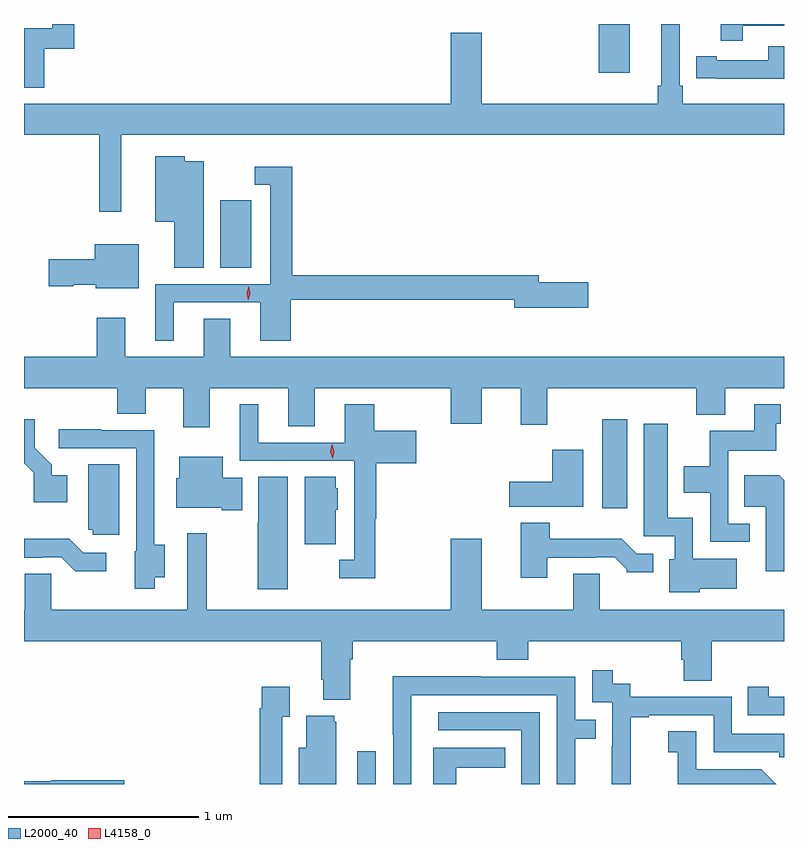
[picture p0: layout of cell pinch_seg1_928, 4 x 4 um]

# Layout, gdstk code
import gdstk
lib = gdstk.Library(unit=1e-6, precision=1e-09)
def R(c, l, rs):  # rectangles x0, y0, x1, y1
    for r in rs: c.add(gdstk.rectangle(r[:2], r[2:], *l))
def P(c, l, *ps):  # polygons
    for p in ps: c.add(gdstk.Polygon(p, *l))
L2000_40 = (2000, 40)
L4158_0 = (4158, 0)

pinch_seg1_928 = lib.new_cell('pinch_seg1_928')
R(pinch_seg1_928, L2000_40, [(212.469,577.62,212.565,577.792), (213.758,579.072,213.889,579.541), (211.748,580.336,211.912,580.693), (213.74,581.364,213.904,581.62)])
P(pinch_seg1_928, L2000_40, [(211.228,581.036),(214.715,581.036),(214.715,581.2),(214.181,581.2),(214.181,581.296),(214.167,581.296),(214.167,581.62),(214.07,581.62),(214.07,581.296),(214.051,581.296),(214.051,581.2),(213.124,581.2),(213.124,581.575),(212.96,581.575),(212.96,581.2),(210.715,581.2),(210.715,581.036),(211.111,581.036),(211.111,580.632),(211.228,580.632)],
  [(214.499,581.61),(214.715,581.61),(214.715,581.62),(214.382,581.62),(214.382,581.532),(214.499,581.532)],
  [(210.821,581.49),(210.98,581.49),(210.98,581.62),(210.864,581.62),(210.864,581.598),(210.715,581.598),(210.715,581.285),(210.821,581.285)],
  [(214.715,581.502),(214.632,581.502),(214.632,581.43),(214.36,581.43),(214.36,581.45),(214.252,581.45),(214.252,581.334),(214.36,581.334),(214.36,581.333),(214.715,581.333)],
  [(211.66,580.897),(211.56,580.897),(211.56,580.924),(211.406,580.924),(211.406,580.58),(211.505,580.58),(211.505,580.336),(211.66,580.336)],
  [(211.504,580.155),(211.958,580.155),(211.958,579.954),(212.12,579.954),(212.12,580.17),(213.296,580.17),(213.296,580.127),(213.685,580.127),(213.685,580.262),(213.424,580.262),(213.424,580.298),(212.126,580.298),(212.126,580.87),(211.929,580.87),(211.929,580.773),(212.01,580.773),(212.01,580.251),(211.406,580.251),(211.406,579.954),(211.504,579.954)],
  [(211.318,580.462),(211.088,580.462),(211.088,580.382),(210.846,580.382),(210.846,580.24),(210.975,580.24),(210.975,580.247),(211.092,580.247),(211.092,580.229),(211.318,580.229)],
  [(211.693,579.704),(212.105,579.704),(212.105,579.502),(212.245,579.502),(212.245,579.704),(212.96,579.704),(212.96,579.516),(213.124,579.516),(213.124,579.704),(213.329,579.704),(213.329,579.51),(213.469,579.51),(213.469,579.704),(214.253,579.704),(214.253,579.563),(214.405,579.563),(214.405,579.704),(214.715,579.704),(214.715,579.868),(211.801,579.868),(211.801,580.07),(211.661,580.07),(211.661,579.868),(211.249,579.868),(211.249,580.075),(211.097,580.075),(211.097,579.868),(210.715,579.868),(210.715,579.704),(211.205,579.704),(211.205,579.568),(211.357,579.568),(211.357,579.704),(211.553,579.704),(211.553,579.498),(211.693,579.498)],
  [(212.563,579.015),(212.57,579.015),(212.57,579.308),(212.779,579.308),(212.779,579.478),(212.559,579.478),(212.559,579.619),(212.402,579.619),(212.402,579.417),(211.948,579.417),(211.948,579.619),(211.85,579.619),(211.85,579.321),(212.454,579.321),(212.454,578.799),(212.373,578.799),(212.373,578.702),(212.563,578.702)],
  [(214.534,578.991),(214.422,578.991),(214.422,579.374),(214.675,579.374),(214.675,579.516),(214.699,579.516),(214.699,579.619),(214.559,579.619),(214.559,579.478),(214.324,579.478),(214.324,579.292),(214.187,579.292),(214.187,579.152),(214.326,579.152),(214.326,578.895),(214.534,578.895)],
  [(210.943,579.244),(210.862,579.244),(210.862,579.299),(210.772,579.389),(210.772,579.541),(210.715,579.541),(210.715,579.309),(210.765,579.259),(210.765,579.104),(210.943,579.104)],
  [(214.272,578.648),(214.465,578.648),(214.465,578.806),(214.236,578.806),(214.236,579.022),(214.102,579.022),(214.102,579.517),(213.977,579.517),(213.977,578.925),(214.14,578.925),(214.14,578.802),(214.112,578.802),(214.112,578.63),(214.272,578.63)],
  [(211.402,578.708),(211.456,578.708),(211.456,578.879),(211.401,578.879),(211.401,579.483),(211.121,579.483),(211.121,579.486),(210.897,579.486),(210.897,579.387),(211.305,579.387),(211.305,578.844),(211.298,578.844),(211.298,578.648),(211.402,578.648)],
  [(213.658,579.379),(213.494,579.379),(213.494,579.21),(213.27,579.21),(213.27,579.08),(213.658,579.08)],
  [(211.864,579.232),(211.762,579.232),(211.762,579.343),(211.532,579.343),(211.532,579.228),(211.517,579.228),(211.517,579.074),(211.757,579.074),(211.757,579.062),(211.864,579.062)],
  [(211.216,579.302),(211.052,579.302),(211.052,578.958),(211.077,578.958),(211.077,578.931),(211.216,578.931)],
  [(214.715,579.219),(214.69,579.244),(214.507,579.244),(214.507,579.08),(214.619,579.08),(214.619,578.739),(214.715,578.739)],
  [(212.104,579.236),(211.949,579.236),(211.949,578.994),(211.946,578.994),(211.946,578.646),(212.104,578.646)],
  [(212.356,579.063),(212.365,579.063),(212.365,579.177),(212.356,579.177),(212.356,579.236),(212.192,579.236),(212.192,578.883),(212.356,578.883)],
  [(213.469,578.811),(213.725,578.811),(213.725,578.814),(213.824,578.814),(213.888,578.75),(213.888,578.735),(214.027,578.735),(214.027,578.832),(213.939,578.832),(213.861,578.911),(213.482,578.911),(213.482,578.995),(213.329,578.995),(213.329,578.706),(213.469,578.706)],
  [(212.431,578.276),(212.444,578.276),(212.444,578.372),(213.203,578.372),(213.203,578.273),(213.368,578.273),(213.368,578.372),(214.175,578.372),(214.175,578.274),(214.187,578.274),(214.187,578.164),(214.335,578.164),(214.335,578.372),(214.715,578.372),(214.715,578.536),(213.745,578.536),(213.745,578.726),(213.605,578.726),(213.605,578.536),(213.124,578.536),(213.124,578.911),(212.96,578.911),(212.96,578.536),(211.676,578.536),(211.676,578.941),(211.575,578.941),(211.575,578.536),(210.858,578.536),(210.858,578.726),(210.719,578.726),(210.719,578.536),(210.715,578.536),(210.715,578.372),(212.279,578.372),(212.279,578.17),(212.291,578.17),(212.291,578.063),(212.431,578.063)],
  [(211.147,578.838),(211.026,578.838),(210.953,578.911),(210.715,578.911),(210.715,578.811),(210.812,578.811),(210.812,578.814),(210.912,578.814),(210.985,578.741),(211.147,578.741)],
  [(213.909,577.687),(213.908,577.687),(213.908,577.971),(214.003,577.971),(214.003,577.983),(214.344,577.983),(214.344,577.788),(214.689,577.788),(214.689,577.761),(214.715,577.761),(214.715,577.884),(214.44,577.884),(214.44,578.079),(213.906,578.079),(213.906,578.148),(213.814,578.148),(213.814,578.218),(213.705,578.218),(213.705,578.049),(213.81,578.049),(213.81,577.82),(213.809,577.82),(213.809,577.62),(213.909,577.62)],
  [(212.754,578.088),(213.519,578.088),(213.519,577.62),(213.615,577.62),(213.615,577.858),(213.725,577.858),(213.725,577.959),(213.615,577.959),(213.615,578.184),(213.119,578.184),(213.119,578.186),(212.656,578.186),(212.656,577.879),(212.658,577.879),(212.658,577.62),(212.754,577.62)],
  [(214.715,578.079),(214.636,578.079),(214.636,578.131),(214.525,578.131),(214.525,577.983),(214.715,577.983)],
  [(212.073,577.975),(212.113,577.975),(212.113,578.131),(211.965,578.131),(211.965,578.018),(211.957,578.018),(211.957,577.62),(212.073,577.62)],
  [(213.429,577.998),(212.895,577.998),(212.895,577.902),(213.333,577.902),(213.333,577.62),(213.429,577.62)],
  [(212.359,577.947),(212.348,577.947),(212.348,577.978),(212.201,577.978),(212.201,577.81),(212.162,577.81),(212.162,577.62),(212.359,577.62)],
  [(214.596,577.698),(214.254,577.698),(214.254,577.897),(214.107,577.897),(214.107,577.787),(214.156,577.787),(214.156,577.62),(214.674,577.62)],
  [(212.991,577.706),(213.248,577.706),(213.248,577.81),(212.87,577.81),(212.87,577.62),(212.991,577.62)],
  [(211.243,577.64),(210.858,577.64),(210.858,577.634),(210.715,577.634),(210.715,577.62),(211.243,577.62)])
P(pinch_seg1_928, L4158_0, [(212.34,579.333),(212.339,579.334),(212.328,579.369),(212.336,579.405),(212.336,579.405),(212.337,579.405),(212.348,579.37),(212.34,579.334)],
  [(211.895,580.166),(211.895,580.166),(211.887,580.203),(211.898,580.239),(211.898,580.239),(211.899,580.239),(211.907,580.202),(211.895,580.166)])

lib.write_gds('pinch_seg1_928.gds')
